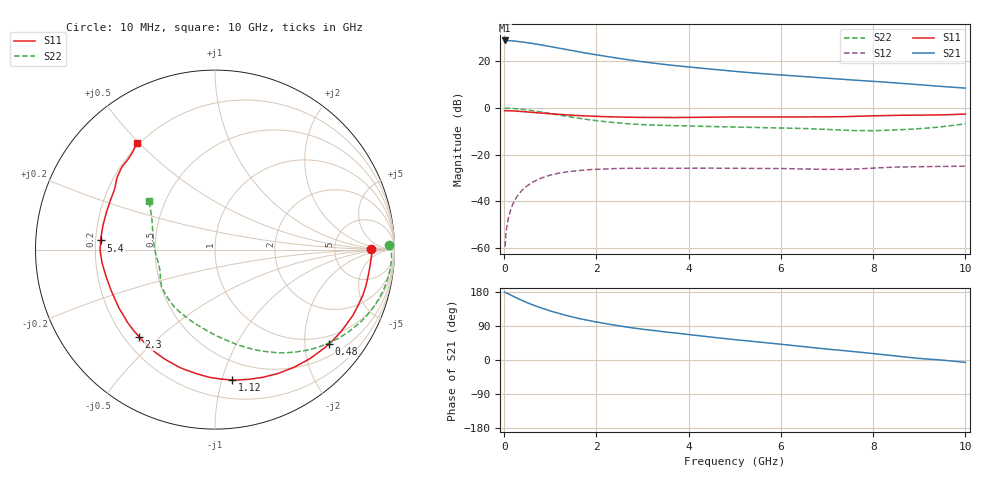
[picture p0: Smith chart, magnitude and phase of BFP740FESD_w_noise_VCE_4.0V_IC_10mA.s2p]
! Infineon Technologies  Discrete & RF Semiconductors
! BFP740FESD
! VCE =  4.0 V,  IC =  10 mA
! Common Emitter S-Parameters:  Jan 2016
# GHz  S  MA  R  50
!  f  S11  S21  S12  S22
! GHz  MAG  ANG  MAG  ANG  MAG  ANG  MAG  ANG
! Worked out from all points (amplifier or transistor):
!   233 points, 10 MHz to 10 GHz, reference 50 ohm
!   highest |S21| = 28.9 dB at 10 MHz (marker M1)
!   |S21| within 3 dB of that: start of sweep to 1.108 GHz
!   unconditionally stable (mu >= 1): 6.425 GHz to end of sweep
!   at 200 MHz: K = 0.12, MSG = 34.7 dB, |S12| = -40.7 dB
!   at 1.74 GHz: K = 0.30, MSG = 25.1 dB, |S12| = -26.6 dB
!   at 10 GHz: K = 1.30, MAG = 13.4 dB, |S12| = -25.0 dB
!   lowest NFmin = 0.61 dB at 450 MHz
!   S11 on the Smith chart (normalised r, x): 10 MHz: 14, +0; 480 MHz: 0.78, -2.56; 1.12 GHz: 0.34, -1.08; 2.3 GHz: 0.26, -0.43; 5.4 GHz: 0.22, +0.04; 10 GHz: 0.19, +0.49
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0.01  0.8698 0.2  27.7 179.2  0.0011 46.3  0.9683 1.5
0.05  0.8703 -4.4  27.33 176.5  0.0026 72.3  0.985 -2.6
0.08  0.8677 -6.9  27.36 175.0  0.0039 75.4  0.9838 -4.3
0.2  0.862 -17.2  27.08 167.9  0.0092 76.1  0.9721 -11.1
0.32  0.8473 -27.1  26.35 160.9  0.0144 72.2  0.9498 -17.5
0.48  0.824 -39.8  25.09 152.3  0.0208 66.4  0.9107 -25.6
0.6  0.8059 -48.8  24.07 146.2  0.0252 61.9  0.8766 -31.2
0.8  0.7749 -62.8  22.25 137.4  0.0314 55.1  0.8171 -39.9
0.9  0.76 -69.4  21.4 133.3  0.034 51.9  0.7872 -44.0
1.12  0.7319 -82.6  19.52 125.1  0.0388 45.5  0.7218 -52.3
1.4  0.7008 -97.6  17.33 115.8  0.0433 38.5  0.6471 -61.9
1.68  0.6785 -110.0  15.46 108.0  0.0463 33.0  0.5865 -70.2
1.96  0.6619 -120.2  13.83 101.2  0.0484 28.5  0.5391 -77.6
2.3  0.6443 -131.0  12.22 93.9  0.0499 24.0  0.4945 -85.8
2.8  0.6277 -144.5  10.31 84.5  0.0509 18.9  0.4498 -96.8
3.4  0.6214 -156.4  8.662 75.5  0.0511 15.1  0.4245 -106.0
4.5  0.6338 -173.5  6.723 60.1  0.0514 11.0  0.3992 -119.6
5.1  0.6397 179.0  5.923 52.6  0.0509 9.6  0.3887 -126.9
5.4  0.6388 175.4  5.593 48.9  0.0507 9.1  0.3836 -130.1
6.8  0.6417 156.9  4.449 31.4  0.0488 8.5  0.3524 -148.9
8.4  0.6903 139.5  3.476 11.6  0.0537 13.2  0.3348 -179.4
10  0.7383 126.1  2.65 -6.2  0.0565 10.4  0.4559 143.7
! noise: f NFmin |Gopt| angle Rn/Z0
0.45  0.61  0.23  4  0.1
2.4  0.67  0.14  49  0.1
5.5  0.83  0.3  138  0.07
10  1.41  0.39  -135  0.13
